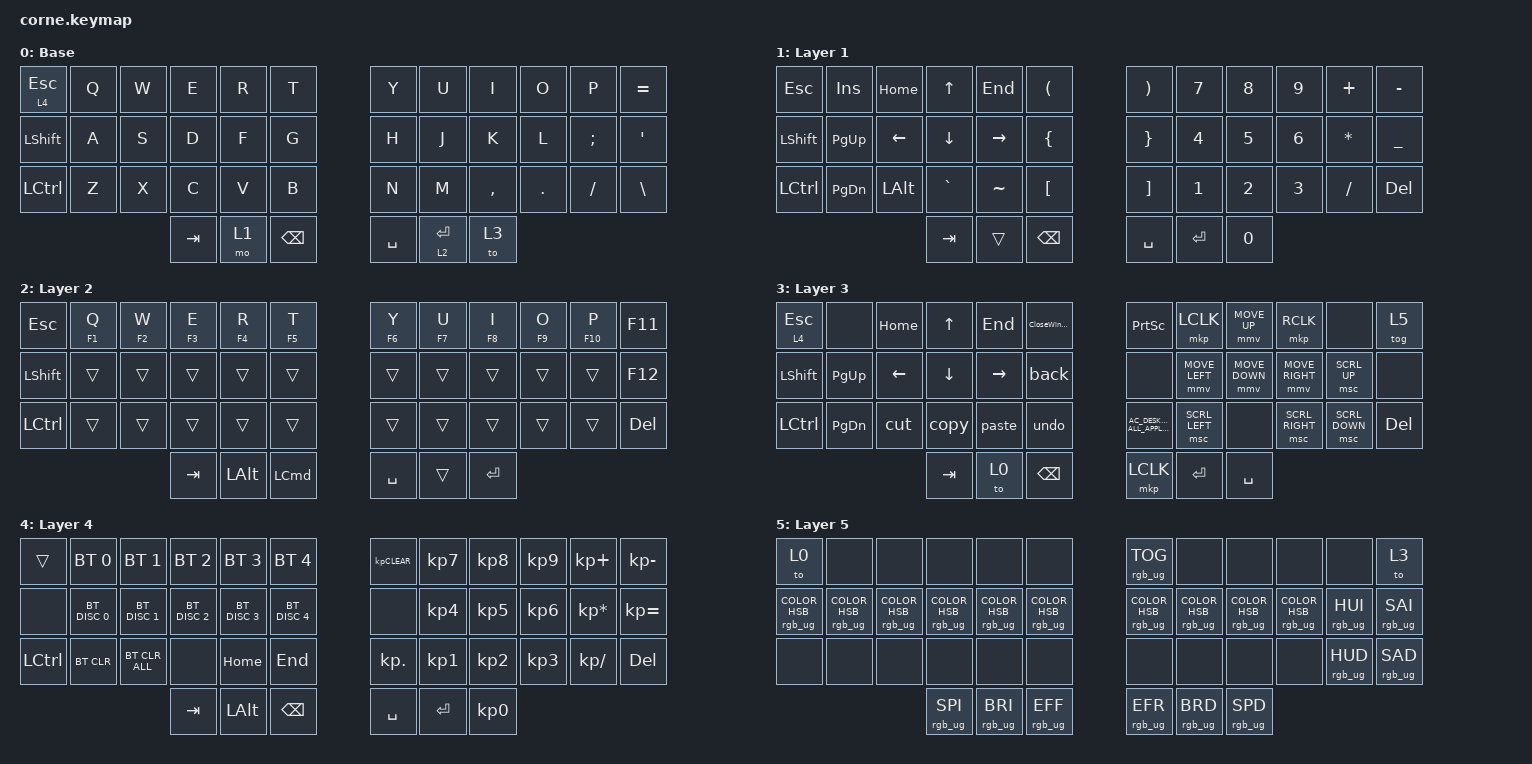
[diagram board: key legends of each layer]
/*
 * Copyright (c) 2020 The ZMK Contributors
 *
 * SPDX-License-Identifier: MIT
 */

#include <behaviors.dtsi>
#include <dt-bindings/zmk/bt.h>
#include <dt-bindings/zmk/keys.h>
#include <dt-bindings/zmk/pointing.h>
#include <dt-bindings/zmk/rgb.h>

/ {
    macros {
        back: back {
            compatible = "zmk,behavior-macro";
            #binding-cells = <0>;
            bindings = <&kp LA(LEFT_ARROW)>;
            label = "BACK";
        };

        CloseWindow: CloseWindow {
            compatible = "zmk,behavior-macro";
            #binding-cells = <0>;
            bindings = <&kp LA(F4)>;
            label = "CLOSEWINDOW";
        };

        cut: cut {
            compatible = "zmk,behavior-macro";
            #binding-cells = <0>;
            bindings = <&kp LC(X)>;
            label = "CUT";
        };

        copy: copy {
            compatible = "zmk,behavior-macro";
            #binding-cells = <0>;
            bindings = <&kp LC(C)>;
            label = "COPY";
        };

        paste: paste {
            compatible = "zmk,behavior-macro";
            #binding-cells = <0>;
            bindings = <&kp LC(V)>;
            label = "PASTE";
        };

        undo: undo {
            compatible = "zmk,behavior-macro";
            #binding-cells = <0>;
            bindings = <&kp LC(Z)>;
            label = "UNDO";
        };
    };

    keymap {
        compatible = "zmk,keymap";

        Main {
            // -----------------------------------------------------------------------------------------
            // |  TAB |  Q  |  W  |  E  |  R  |  T  |   |  Y  |  U   |  I  |  O  |  P  | BKSP |
            // | CTRL |  A  |  S  |  D  |  F  |  G  |   |  H  |  J   |  K  |  L  |  ;  |  '   |
            // | SHFT |  Z  |  X  |  C  |  V  |  B  |   |  N  |  M   |  ,  |  .  |  /  | ESC  |
            //                    | GUI | LWR | SPC |   | ENT | RSE  | ALT |

            display-name = "Base";
            bindings = <
&lt 4 ESC         &kp Q  &kp W  &kp E    &kp R  &kp T            &kp Y      &kp U        &kp I      &kp O    &kp P     &kp EQUAL
&kp LEFT_SHIFT    &kp A  &kp S  &kp D    &kp F  &kp G            &kp H      &kp J        &kp K      &kp L    &kp SEMI  &kp SQT
&kp LEFT_CONTROL  &kp Z  &kp X  &kp C    &kp V  &kp B            &kp N      &kp M        &kp COMMA  &kp DOT  &kp FSLH  &kp BACKSLASH
                                &kp TAB  &mo 1  &kp BACKSPACE    &kp SPACE  &lt 2 ENTER  &to 3
            >;
        };

        NumSym {
            // -----------------------------------------------------------------------------------------
            // |  TAB |  1  |  2  |  3  |  4  |  5  |   |  6  |  7  |  8  |  9  |  0  | BKSP |
            // | BTCLR| BT1 | BT2 | BT3 | BT4 | BT5 |   | LFT | DWN |  UP | RGT |     |      |
            // | SHFT |     |     |     |     |     |   |     |     |     |     |     |      |
            //                    | GUI |     | SPC |   | ENT |     | ALT |

            display-name = "Layer 1";
            bindings = <
&kp ESC           &kp INSERT     &kp HOME        &kp UP_ARROW    &kp END          &kp LEFT_PARENTHESIS    &kp RIGHT_PARENTHESIS  &kp N7     &kp N8  &kp N9  &kp PLUS      &kp MINUS
&kp LEFT_SHIFT    &kp PAGE_UP    &kp LEFT_ARROW  &kp DOWN_ARROW  &kp RIGHT_ARROW  &kp LEFT_BRACE          &kp RIGHT_BRACE        &kp N4     &kp N5  &kp N6  &kp ASTERISK  &kp UNDERSCORE
&kp LEFT_CONTROL  &kp PAGE_DOWN  &kp LEFT_ALT    &kp GRAVE       &kp TILDE        &kp LEFT_BRACKET        &kp RIGHT_BRACKET      &kp N1     &kp N2  &kp N3  &kp SLASH     &kp DELETE
                                                 &kp TAB         &trans           &kp BACKSPACE           &kp SPACE              &kp ENTER  &kp N0
            >;
        };

        Command {
            // -----------------------------------------------------------------------------------------
            // |  TAB |  !  |  @  |  #  |  $  |  %  |   |  ^  |  &  |  *  |  (  |  )  | BKSP |
            // | CTRL |     |     |     |     |     |   |  -  |  =  |  [  |  ]  |  \  |  `   |
            // | SHFT |     |     |     |     |     |   |  _  |  +  |  {  |  }  | "|" |  ~   |
            //                    | GUI |     | SPC |   | ENT |     | ALT |

            display-name = "Layer 2";
            bindings = <
&kp ESC           &mt F1 Q  &mt F2 W  &mt F3 E  &mt F4 R      &mt F5 T            &mt F6 Y   &mt F7 U  &mt F8 I   &mt F9 O  &mt F10 P  &kp F11
&kp LEFT_SHIFT    &trans    &trans    &trans    &trans        &trans              &trans     &trans    &trans     &trans    &trans     &kp F12
&kp LEFT_CONTROL  &trans    &trans    &trans    &trans        &trans              &trans     &trans    &trans     &trans    &trans     &kp DELETE
                                      &kp TAB   &kp LEFT_ALT  &kp LEFT_COMMAND    &kp SPACE  &trans    &kp ENTER
            >;
        };

        Mouse {
            display-name = "Layer 3";
            bindings = <
&lt 4 ESC         &none          &kp HOME        &kp UP_ARROW    &kp END          &CloseWindow     &kp PRINTSCREEN                         &mkp LCLK       &mmv MOVE_UP    &mkp RCLK        &none           &tog 5
&kp LEFT_SHIFT    &kp PAGE_UP    &kp LEFT_ARROW  &kp DOWN_ARROW  &kp RIGHT_ARROW  &back            &none                                   &mmv MOVE_LEFT  &mmv MOVE_DOWN  &mmv MOVE_RIGHT  &msc SCRL_UP    &none
&kp LEFT_CONTROL  &kp PAGE_DOWN  &cut            &copy           &paste           &undo            &kp C_AC_DESKTOP_SHOW_ALL_APPLICATIONS  &msc SCRL_LEFT  &none           &msc SCRL_RIGHT  &msc SCRL_DOWN  &kp DELETE
                                                 &kp TAB         &to 0            &kp BACKSPACE    &mkp LCLK                               &kp ENTER       &kp SPACE
            >;
        };

        NumpadBT {
            display-name = "Layer 4";
            bindings = <
&trans            &bt BT_SEL 0   &bt BT_SEL 1    &bt BT_SEL 2   &bt BT_SEL 3   &bt BT_SEL 4     &kp KP_CLEAR  &kp KP_NUMBER_7  &kp KP_NUMBER_8  &kp KP_NUMBER_9  &kp KP_PLUS      &kp KP_MINUS
&none             &bt BT_DISC 0  &bt BT_DISC 1   &bt BT_DISC 2  &bt BT_DISC 3  &bt BT_DISC 4    &none         &kp KP_NUMBER_4  &kp KP_NUMBER_5  &kp KP_NUMBER_6  &kp KP_MULTIPLY  &kp KP_EQUAL
&kp LEFT_CONTROL  &bt BT_CLR     &bt BT_CLR_ALL  &none          &kp HOME       &kp END          &kp KP_DOT    &kp KP_NUMBER_1  &kp KP_NUMBER_2  &kp KP_NUMBER_3  &kp KP_DIVIDE    &kp DELETE
                                                 &kp TAB        &kp LEFT_ALT   &kp BACKSPACE    &kp SPACE     &kp ENTER        &kp KP_N0
            >;
        };

        Light {
            display-name = "Layer 5";
            bindings = <
&to 0                             &none                            &none                            &none                             &none                             &none                               &rgb_ug RGB_TOG                   &none                             &none                            &none                           &none            &to 3
&rgb_ug RGB_COLOR_HSB(355,94,50)  &rgb_ug RGB_COLOR_HSB(22,97,49)  &rgb_ug RGB_COLOR_HSB(58,91,50)  &rgb_ug RGB_COLOR_HSB(118,95,49)  &rgb_ug RGB_COLOR_HSB(186,93,50)  &rgb_ug RGB_COLOR_HSB(231,94,47)    &rgb_ug RGB_COLOR_HSB(267,94,48)  &rgb_ug RGB_COLOR_HSB(305,97,49)  &rgb_ug RGB_COLOR_HSB(40,30,96)  &rgb_ug RGB_COLOR_HSB(245,0,1)  &rgb_ug RGB_HUI  &rgb_ug RGB_SAI
&none                             &none                            &none                            &none                             &none                             &none                               &none                             &none                             &none                            &none                           &rgb_ug RGB_HUD  &rgb_ug RGB_SAD
                                                                                                    &rgb_ug RGB_SPI                   &rgb_ug RGB_BRI                   &rgb_ug RGB_EFF                     &rgb_ug RGB_EFR                   &rgb_ug RGB_BRD                   &rgb_ug RGB_SPD
            >;
        };
    };
};
